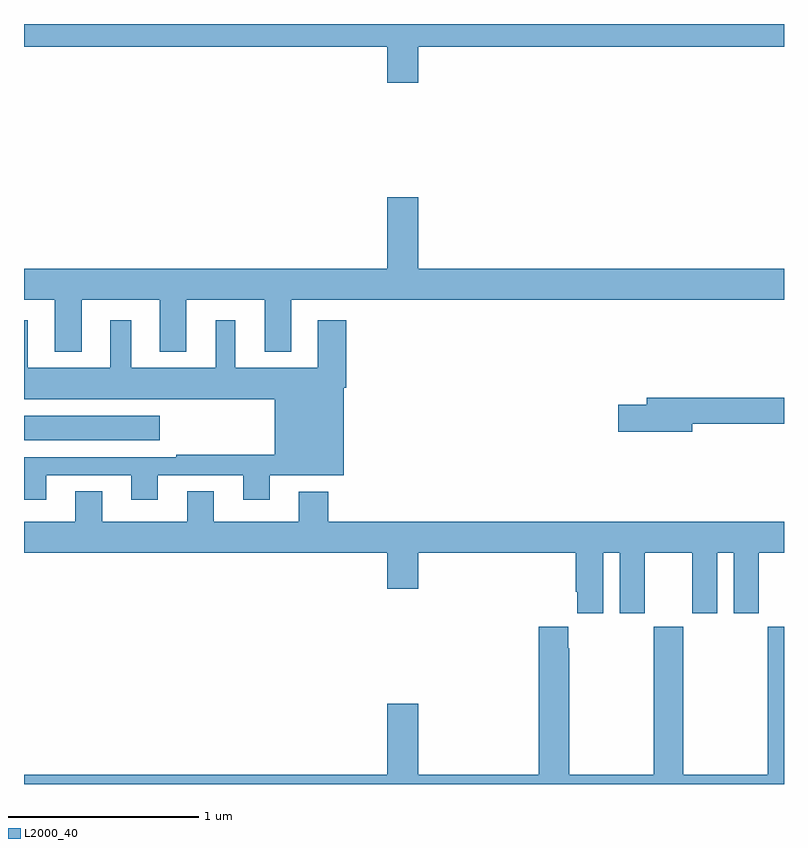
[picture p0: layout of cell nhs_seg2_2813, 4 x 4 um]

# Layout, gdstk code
import gdstk
lib = gdstk.Library(unit=1e-6, precision=1e-09)
def R(c, l, rs):  # rectangles x0, y0, x1, y1
    for r in rs: c.add(gdstk.rectangle(r[:2], r[2:], *l))
def P(c, l, *ps):  # polygons
    for p in ps: c.add(gdstk.Polygon(p, *l))
L2000_40 = (2000, 40)

nhs_seg2_2813 = lib.new_cell('nhs_seg2_2813')
R(nhs_seg2_2813, L2000_40, [(259,601.61,259.714,601.738)])
P(nhs_seg2_2813, L2000_40, [(261.076,603.68),(263,603.68),(263,603.8),(259,603.8),(259,603.68),(260.912,603.68),(260.912,603.492),(261.076,603.492)],
  [(259.303,602.348),(259.715,602.348),(259.715,602.075),(259.855,602.075),(259.855,602.348),(260.267,602.348),(260.267,602.075),(260.407,602.075),(260.407,602.348),(263,602.348),(263,602.512),(261.076,602.512),(261.076,602.887),(260.912,602.887),(260.912,602.512),(259,602.512),(259,602.348),(259.163,602.348),(259.163,602.075),(259.303,602.075)],
  [(259.117,601.425),(259.565,601.425),(259.565,601.296),(259.705,601.296),(259.705,601.425),(260.153,601.425),(260.153,601.296),(260.293,601.296),(260.293,601.424),(260.683,601.424),(260.683,601.886),(260.696,601.886),(260.696,602.242),(260.546,602.242),(260.546,601.99),(260.113,601.99),(260.113,602.242),(260.009,602.242),(260.009,601.99),(259.564,601.99),(259.564,602.242),(259.454,602.242),(259.454,601.99),(259.021,601.99),(259.021,602.242),(259,602.242),(259,601.826),(260.321,601.826),(260.321,601.534),(259.801,601.534),(259.801,601.521),(259,601.521),(259,601.296),(259.117,601.296)],
  [(262.516,601.696),(263,601.696),(263,601.832),(262.277,601.832),(262.277,601.796),(262.128,601.796),(262.128,601.654),(262.516,601.654)],
  [(262.048,601.016),(262.136,601.016),(262.136,600.699),(262.267,600.699),(262.267,601.016),(262.517,601.016),(262.517,600.699),(262.648,600.699),(262.648,601.016),(262.736,601.016),(262.736,600.699),(262.867,600.699),(262.867,601.016),(263,601.016),(263,601.18),(260.6,601.18),(260.6,601.339),(260.447,601.339),(260.447,601.18),(259.999,601.18),(259.999,601.34),(259.859,601.34),(259.859,601.18),(259.411,601.18),(259.411,601.34),(259.271,601.34),(259.271,601.18),(259,601.18),(259,601.016),(260.912,601.016),(260.912,600.828),(261.076,600.828),(261.076,601.016),(261.904,601.016),(261.904,600.811),(261.911,600.811),(261.911,600.699),(262.048,600.699)],
  [(263,600.628),(262.915,600.628),(262.915,599.848),(262.47,599.848),(262.47,600.628),(262.315,600.628),(262.315,599.848),(261.87,599.848),(261.87,600.515),(261.865,600.515),(261.865,600.628),(261.71,600.628),(261.71,599.848),(261.076,599.848),(261.076,600.223),(260.912,600.223),(260.912,599.848),(259,599.848),(259,599.8),(263,599.8)])

lib.write_gds('nhs_seg2_2813.gds')
